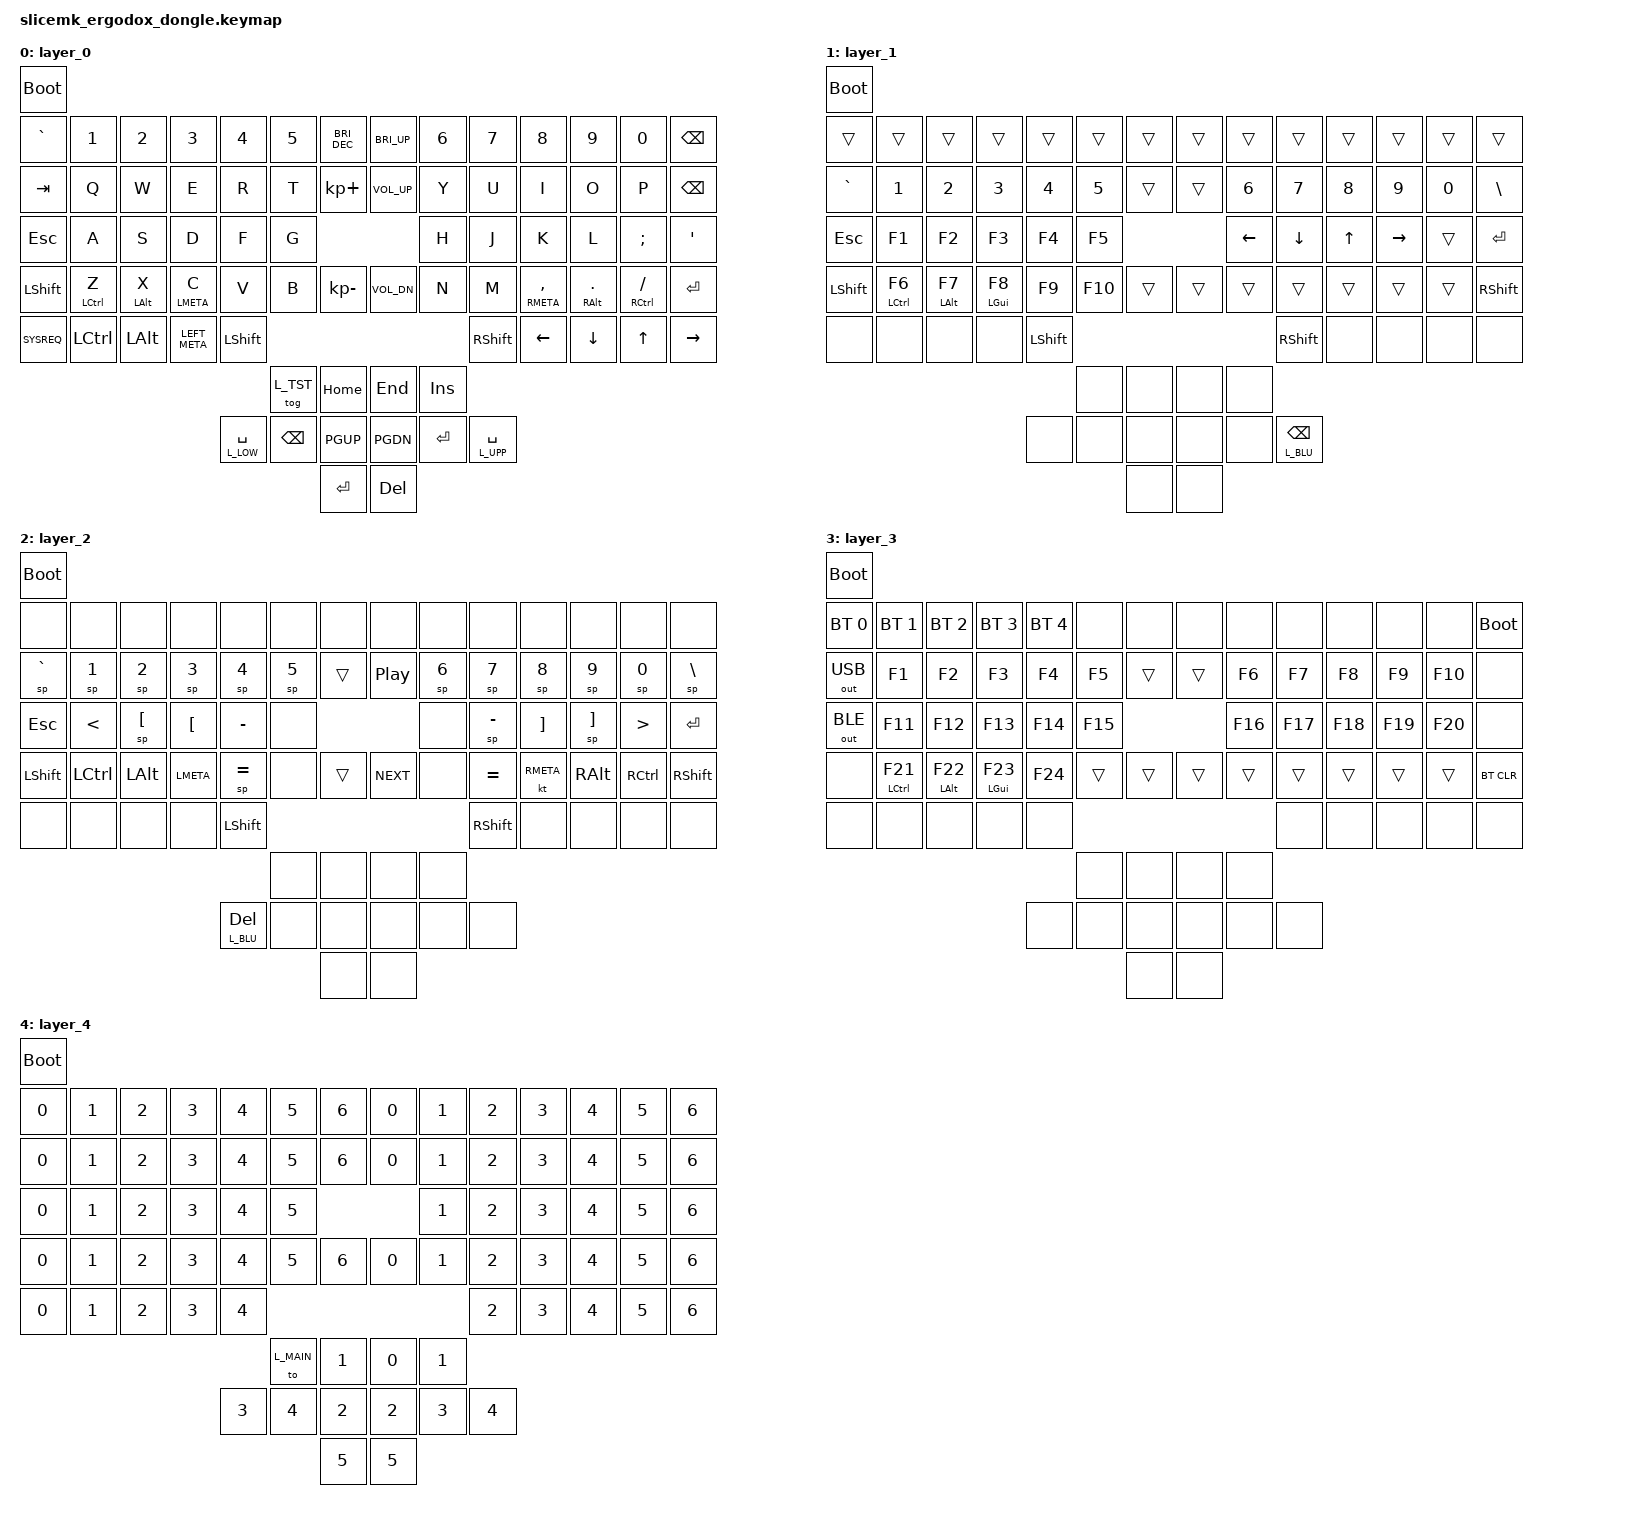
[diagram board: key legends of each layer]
#include <behaviors.dtsi>
#include <dt-bindings/zmk/keys.h>
#include <dt-bindings/zmk/bt.h>
#include <dt-bindings/zmk/outputs.h>

#include "../zmk-nodefree-config/helper.h"

#include "./keypos_ergodox.h"
#define KEYS_L LT0 LT1 LT2 LT3 LT4 LM0 LM1 LM2 LM3 LM4 LB0 LB1 LB2 LB3 LB4  // left-hand keys
#define KEYS_R RT0 RT1 RT2 RT3 RT4 RM0 RM1 RM2 RM3 RM4 RB0 RB1 RB2 RB3 RB4  // right-hand keys
#define THUMBS LH2 LH1 LH0 RH0 RH1 RH2                                      // thumb keys

&mt {
    tapping-term-ms = <150>;
};


#define L_MAIN 0
#define L_LOW 1
#define L_UPP 2
#define L_BLU 3
#define L_TST 4


/* shifted-press */
/* fix issue where some programs interpret shifted keycodes w/o the shift; eg. &kp EXCL -> 1 */
/* SEE https://github.com/zmkfirmware/zmk/issues/759 */
/* I observed this if using a &lt -> &kp <symbol>, if pressed rapidly, the number results */
/* I observed this in Alacritty, but not in gnome-terminal */
ZMK_BEHAVIOR(sp, macro_one_param, \
    wait-ms = <16>; \
    tap-ms = <0>; \
    bindings = \
        <&macro_press &kp LSHFT>, \
        <&macro_param_1to1>, \
        <&macro_tap &kp MACRO_PLACEHOLDER>, \
        <&macro_release &kp LSHFT>; \
)

/* left-hand HRMs */
ZMK_BEHAVIOR(hml, hold_tap,
    flavor = "balanced";
    tapping-term-ms = <150>;
    quick-tap-ms = <175>;                // repeat on tap-into-hold
    bindings = <&kp>, <&kp>;
    hold-trigger-key-positions = <KEYS_R THUMBS>;
    hold-trigger-on-release;             // delay positional check until key-release
)

/* right-hand HRMs */
ZMK_BEHAVIOR(hmr, hold_tap,
    flavor = "balanced";
    tapping-term-ms = <150>;
    quick-tap-ms = <175>;                // repeat on tap-into-hold
    bindings = <&kp>, <&kp>;
    hold-trigger-key-positions = <KEYS_L THUMBS>;
    hold-trigger-on-release;             // delay positional check until key-release
)

/ {

	behaviors {
		hm: homerow_mods {
			compatible = "zmk,behavior-hold-tap";
			label = "HOMEROW_MODS";
			#binding-cells = <2>;
			tapping-term-ms = <150>;
			quick-tap-ms = <0>;
			flavor = "tap-preferred";
			bindings = <&kp>, <&kp>;
			hold-trigger-on-release;             // delay positional check until key-release
		};
	};

	keymap {
		compatible = "zmk,keymap";
		layer_0 {
			bindings = <
			&bootloader
			 //╭───────────────┬───────────────┬───────────────┬───────────────┬───────────────┬───────────────┬───────────────╮       ╭───────────────┬───────────────┬───────────────┬───────────────┬───────────────┬───────────────┬───────────────╮
				&kp GRAV        &kp NUMBER_1    &kp NUMBER_2    &kp NUMBER_3    &kp NUMBER_4    &kp NUMBER_5    &kp C_BRI_DEC           &kp C_BRI_UP    &kp NUMBER_6    &kp NUMBER_7    &kp NUMBER_8    &kp NUMBER_9    &kp NUMBER_0    &kp BKSP
			 //├───────────────┼───────────────┼───────────────┼───────────────┼───────────────┼───────────────┼───────────────┤       ├───────────────┼───────────────┼───────────────┼───────────────┼───────────────┼───────────────┼───────────────┤
				&kp TAB         &kp Q           &kp W           &kp E           &kp R           &kp T           &kp KP_PLUS             &kp K_VOL_UP    &kp Y           &kp U           &kp I           &kp O           &kp P           &kp BKSP
			 //├───────────────┼───────────────┼───────────────┼───────────────┼───────────────┼───────────────┼───────────────╯       ╰───────────────┼───────────────┼───────────────┼───────────────┼───────────────┼───────────────┼───────────────┤
				&kp ESC         &kp A           &kp S           &kp D           &kp F           &kp G                                                   &kp H           &kp J           &kp K           &kp L           &kp SEMI        &kp APOS
			 //├───────────────┼───────────────┼───────────────┼───────────────┼───────────────┼───────────────┼───────────────╮       ╭───────────────┼───────────────┼───────────────┼───────────────┼───────────────┼───────────────┼───────────────┤
				&kp LSHIFT      &hml LCTRL Z    &hml LALT X     &hml LMETA C    &kp V           &kp B           &kp KP_MINUS            &kp K_VOL_DN    &kp N           &kp M           &hmr RMETA CMMA &hmr RALT DOT   &hmr RCTRL FSLH &kp ENTER
			 //├───────────────┼───────────────┼───────────────┼───────────────┼───────────────┼───────────────┼───────────────╯       ╰───────────────┼───────────────┼───────────────┼───────────────┼───────────────┼───────────────┼───────────────┤
				&kp SYSREQ      &kp LCTRL       &kp LALT        &kp LEFT_META   &kp LSHIFT                                                                              &kp RSHIFT      &kp LEFT        &kp DOWN        &kp UP          &kp RIGHT
			 //├───────────────┼───────────────┼───────────────┼───────────────┼───────────────╯                                                                       ╰───────────────┼───────────────┼───────────────┼───────────────┼───────────────┤
			 //                                                                                ┼───────────────┼───────────────╮       ╭───────────────┼───────────────┤
				                                                                                &tog L_TST      &kp HOME                &kp END         &kp INS
			 //                                                                ┼───────────────┼───────────────┼───────────────┤       ├───────────────┼───────────────┼───────────────┼
				                                                                &lt L_LOW SPACE &kp BKSP        &kp PGUP                &kp PGDN        &kp ENTER       &lt L_UPP SPACE
			 //                                                                ┼───────────────┼───────────────┼───────────────┤       ├───────────────┼───────────────┼───────────────┼
				                                                                                                &kp RET                 &kp DEL
			 //                                                                                                ╰───────────────╯       ╰───────────────╯
			>;
		};

		layer_1 {
			bindings = <
			&bootloader
			 //╭───────────────┬───────────────┬───────────────┬───────────────┬───────────────┬───────────────┬───────────────╮       ╭───────────────┬───────────────┬───────────────┬───────────────┬───────────────┬───────────────┬───────────────╮
				&trans          &trans          &trans          &trans          &trans          &trans          &trans                  &trans          &trans          &trans          &trans          &trans          &trans          &trans
			 //├───────────────┼───────────────┼───────────────┼───────────────┼───────────────┼───────────────┼───────────────┤       ├───────────────┼───────────────┼───────────────┼───────────────┼───────────────┼───────────────┼───────────────┤
				&kp GRAVE       &kp N1          &kp N2          &kp N3          &kp N4          &kp N5          &trans                  &trans          &kp N6          &kp N7          &kp N8          &kp N9          &kp N0          &kp BSLH
			 //├───────────────┼───────────────┼───────────────┼───────────────┼───────────────┼───────────────┼───────────────╯       ╰───────────────┼───────────────┼───────────────┼───────────────┼───────────────┼───────────────┼───────────────┤
				&kp ESC         &kp F1          &kp F2          &kp F3          &kp F4          &kp F5                                                  &kp LEFT        &kp DOWN        &kp UP          &kp RIGHT       &trans          &kp ENTER
			 //├───────────────┼───────────────┼───────────────┼───────────────┼───────────────┼───────────────┼───────────────╮       ╭───────────────┼───────────────┼───────────────┼───────────────┼───────────────┼───────────────┼───────────────┤
				&kp LSHIFT      &hml LCTRL F6   &hml LALT F7    &hml LGUI F8    &kp F9          &kp F10          &trans                 &trans          &trans          &trans          &trans          &trans          &trans          &kp RSHIFT
			 //├───────────────┼───────────────┼───────────────┼───────────────┼───────────────┼───────────────┼───────────────╯       ╰───────────────┼───────────────┼───────────────┼───────────────┼───────────────┼───────────────┼───────────────┤
				&none           &none           &none           &none           &kp LSHIFT                                                                              &kp RSHIFT      &none           &none           &none           &none
			 //├───────────────┼───────────────┼───────────────┼───────────────┼───────────────╯                                                                       ╰───────────────┼───────────────┼───────────────┼───────────────┼───────────────┤
			 //                                                                                ┼───────────────┼───────────────╮       ╭───────────────┼───────────────┤
				                                                                                &none           &none                   &none           &none
			 //                                                                ┼───────────────┼───────────────┼───────────────┤       ├───────────────┼───────────────┼───────────────┼
				                                                                &none           &none           &none                   &none           &none           &lt L_BLU BSPC
			 //                                                                ┼───────────────┼───────────────┼───────────────┤       ├───────────────┼───────────────┼───────────────┼
				                                                                                                &none                   &none
			 //                                                                                                ╰───────────────╯       ╰───────────────╯
			>;
		};

		layer_2 {
			bindings = <
				&bootloader
				&none      &none     &none    &none     &none                   &none       &none  &none            &none     &none         &none        &none                &none                 &none
				&sp GRAVE  &sp N1    &sp N2   &sp N3    &sp N4                  &sp N5      &trans &kp C_PLAY_PAUSE &sp N6    &sp N7        &sp N8       &sp N9               &sp N0                &sp BSLH
				&kp ESC    &kp LT    &sp LBKT &kp LBKT  &kp MINUS               &none                               &none     &sp MINUS     &kp RBKT     &sp RBKT             &kp GT                &kp ENTER
				&kp LSHIFT &kp LCTRL &kp LALT &kp LMETA &sp EQUAL               &none       &trans &kp C_NEXT       &none     &kp EQUAL     &kt RMETA    &kp RALT             &kp RCTRL             &kp RSHIFT
				&none      &none     &none    &none     &kp LSHIFT                                                            &kp RSHIFT    &none        &none                &none                 &none
				                                                                &none       &none  &none            &none
				                                        &lt L_BLU DEL &none       &none  &none            &none     &none
				                                                                            &none  &none
			>;
		};
		layer_3 {
			bindings = <
				&bootloader
				&bt BT_SEL 0 &bt BT_SEL 1  &bt BT_SEL 2 &bt BT_SEL 3 &bt BT_SEL 4 &none   &none  &none  &none   &none   &none   &none   &none   &bootloader
				&out OUT_USB &kp F1        &kp F2       &kp F3       &kp F4       &kp F5  &trans &trans &kp F6  &kp F7  &kp F8  &kp F9  &kp F10 &none
				&out OUT_BLE &kp F11       &kp F12      &kp F13      &kp F14      &kp F15               &kp F16 &kp F17 &kp F18 &kp F19 &kp F20 &none
				&none        &hml LCTRL F21 &hml LALT F22 &hml LGUI F23 &kp F24      &trans  &trans &trans &trans  &trans  &trans  &trans  &trans  &bt BT_CLR
				&none        &none         &none        &none        &none                                      &none   &none   &none   &none   &none
				                                                                  &none   &none  &none  &none
				                                                     &none        &none   &none  &none  &none   &none
				                                                                          &none  &none
			>;
		};
		layer_4 {
			bindings = <
				&bootloader
				&kp NUM_0 &kp NUM_1 &kp NUM_2 &kp NUM_3 &kp NUM_4 &kp NUM_5      &kp NUM_6 &kp NUM_0 &kp NUM_1 &kp NUM_2 &kp NUM_3 &kp NUM_4 &kp NUM_5 &kp NUM_6
				&kp NUM_0 &kp NUM_1 &kp NUM_2 &kp NUM_3 &kp NUM_4 &kp NUM_5      &kp NUM_6 &kp NUM_0 &kp NUM_1 &kp NUM_2 &kp NUM_3 &kp NUM_4 &kp NUM_5 &kp NUM_6
				&kp NUM_0 &kp NUM_1 &kp NUM_2 &kp NUM_3 &kp NUM_4 &kp NUM_5                          &kp NUM_1 &kp NUM_2 &kp NUM_3 &kp NUM_4 &kp NUM_5 &kp NUM_6
				&kp NUM_0 &kp NUM_1 &kp NUM_2 &kp NUM_3 &kp NUM_4 &kp NUM_5      &kp NUM_6 &kp NUM_0 &kp NUM_1 &kp NUM_2 &kp NUM_3 &kp NUM_4 &kp NUM_5 &kp NUM_6
				&kp NUM_0 &kp NUM_1 &kp NUM_2 &kp NUM_3 &kp NUM_4                                              &kp NUM_2 &kp NUM_3 &kp NUM_4 &kp NUM_5 &kp NUM_6
				                                                  &to L_MAIN &kp NUM_1 &kp NUM_0 &kp NUM_1
				                                        &kp NUM_3 &kp NUM_4      &kp NUM_2 &kp NUM_2 &kp NUM_3 &kp NUM_4
				                                                                 &kp NUM_5 &kp NUM_5
			>;
		};
	};


};
